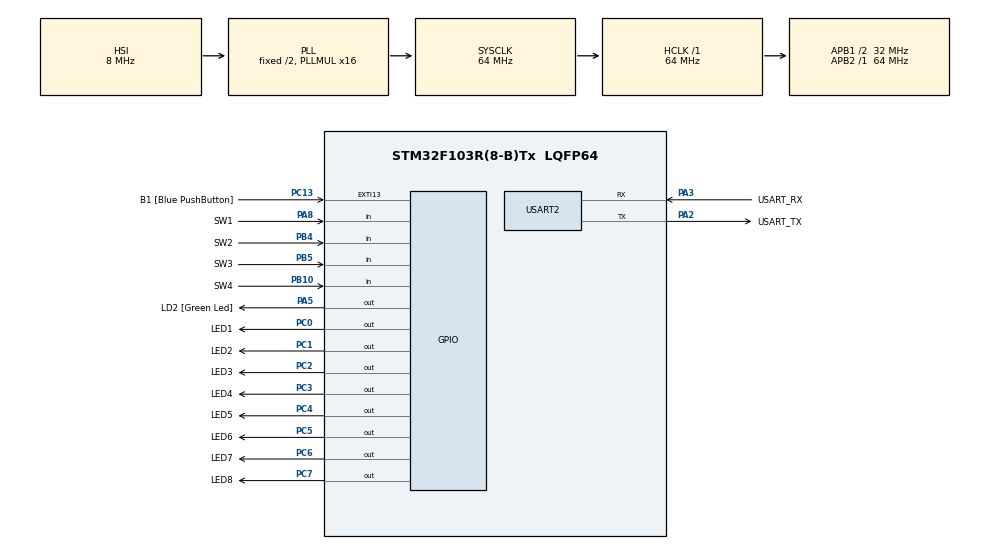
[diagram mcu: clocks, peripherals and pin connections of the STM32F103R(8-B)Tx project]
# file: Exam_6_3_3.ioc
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Mcu.Family=STM32F1
Mcu.Name=STM32F103R(8-B)Tx
Mcu.Package=LQFP64
NVIC.EXTI15_10_IRQn=true\:0\:0\:false\:false\:true\:true\:true\:true
NVIC.PriorityGroup=NVIC_PRIORITYGROUP_4
PA13.GPIO_Label=TMS
PA13.Mode=Serial_Wire
PA13.Signal=SYS_JTMS-SWDIO
PA14.GPIO_Label=TCK
PA14.Mode=Serial_Wire
PA14.Signal=SYS_JTCK-SWCLK
PA2.GPIO_Label=USART_TX
PA2.GPIO_Mode=GPIO_MODE_AF_PP
PA2.GPIO_PuPd=GPIO_NOPULL
PA2.GPIO_Speed=GPIO_SPEED_FREQ_LOW
PA2.Mode=Asynchronous
PA2.Signal=USART2_TX
PA3.GPIO_Label=USART_RX
PA3.GPIO_Mode=GPIO_MODE_AF_PP
PA3.GPIO_PuPd=GPIO_NOPULL
PA3.GPIO_Speed=GPIO_SPEED_FREQ_LOW
PA3.Mode=Asynchronous
PA3.Signal=USART2_RX
PA5.GPIO_Label=LD2 [Green Led]
PA5.GPIO_ModeDefaultOutputPP=GPIO_MODE_OUTPUT_PP
PA5.GPIO_PuPd=GPIO_NOPULL
PA5.GPIO_Speed=GPIO_SPEED_FREQ_LOW
PA5.Signal=GPIO_Output
PA8.GPIO_Label=SW1
PA8.Signal=GPIO_Input
PB10.GPIO_Label=SW4
PB10.Signal=GPIO_Input
PB3.GPIO_Label=SWO
PB3.Signal=SYS_JTDO-TRACESWO
PB4.GPIO_Label=SW2
PB4.Signal=GPIO_Input
PB5.GPIO_Label=SW3
PB5.Signal=GPIO_Input
PC0.GPIO_Label=LED1
PC0.Signal=GPIO_Output
PC1.GPIO_Label=LED2
PC1.Signal=GPIO_Output
PC13-TAMPER-RTC.GPIO_Label=B1 [Blue PushButton]
PC13-TAMPER-RTC.GPIO_PuPd=GPIO_NOPULL
PC13-TAMPER-RTC.Signal=GPXTI13
PC14-OSC32_IN.Mode=LSE-External-Oscillator
PC14-OSC32_IN.Signal=RCC_OSC32_IN
PC15-OSC32_OUT.Mode=LSE-External-Oscillator
PC15-OSC32_OUT.Signal=RCC_OSC32_OUT
PC2.GPIO_Label=LED3
PC2.Signal=GPIO_Output
PC3.GPIO_Label=LED4
PC3.Signal=GPIO_Output
PC4.GPIO_Label=LED5
PC4.Signal=GPIO_Output
PC5.GPIO_Label=LED6
PC5.Signal=GPIO_Output
PC6.GPIO_Label=LED7
PC6.Signal=GPIO_Output
PC7.GPIO_Label=LED8
PC7.Signal=GPIO_Output
PD0-OSC_IN.Mode=HSE-External-Clock-Source
PD0-OSC_IN.Signal=RCC_OSC_IN
PD1-OSC_OUT.Mode=HSE-External-Clock-Source
PD1-OSC_OUT.Signal=RCC_OSC_OUT
ProjectManager.HeapSize=0x200
ProjectManager.StackSize=0x400
ProjectManager.TargetToolchain=STM32CubeIDE
RCC.AHBFreq_Value=64000000
RCC.APB1CLKDivider=RCC_HCLK_DIV2
RCC.APB1Freq_Value=32000000
RCC.APB1TimFreq_Value=64000000
RCC.APB2Freq_Value=64000000
RCC.APB2TimFreq_Value=64000000
RCC.HCLKFreq_Value=64000000
RCC.PLLMUL=RCC_PLL_MUL16
RCC.RTCClockSelection=RCC_RTCCLKSOURCE_LSE
RCC.SYSCLKFreq_VALUE=64000000
RCC.SYSCLKSource=RCC_SYSCLKSOURCE_PLLCLK
RCC.USBFreq_Value=64000000
USART2.VirtualMode=VM_ASYNC
board=NUCLEO-F103RB

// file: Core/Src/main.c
/* USER CODE BEGIN Header */
/**
  ******************************************************************************
  * @file           : main.c
  * @brief          : Main program body
  ******************************************************************************
  * @attention
  *
  * Copyright (c) 2022 STMicroelectronics.
  * All rights reserved.
  *
  * This software is licensed under terms that can be found in the LICENSE file
  * in the root directory of this software component.
  * If no LICENSE file comes with this software, it is provided AS-IS.
  *
  ******************************************************************************
  */
/* USER CODE END Header */
#include "main.h"

 UART_HandleTypeDef huart2;

void SystemClock_Config(void);
static void MX_GPIO_Init(void);
static void MX_USART2_UART_Init(void);

int main(void)
{

  /* MCU Configuration--------------------------------------------------------*/

  /* Reset of all peripherals, Initializes the Flash interface and the Systick. */
  HAL_Init();

  /* Configure the system clock */
  SystemClock_Config();

  /* Initialize all configured peripherals */
  MX_GPIO_Init();
  MX_USART2_UART_Init();

  /* Infinite loop */
  /* USER CODE BEGIN WHILE */
  while (1)
  {
	  /*if(HAL_GPIO_ReadPin(GPIOA, GPIO_PIN_8) == 0) { //???�� ?���?
	  		  HAL_GPIO_WritePin(GPIOC, GPIO_PIN_0 | GPIO_PIN_1 | GPIO_PIN_2 | GPIO_PIN_3 | GPIO_PIN_4 | GPIO_PIN_5 | GPIO_PIN_6 | GPIO_PIN_7, GPIO_PIN_SET);
	  	  }
	  	  else if(HAL_GPIO_ReadPin(GPIOA, GPIO_PIN_8) == 1)
	  		  HAL_GPIO_WritePin(GPIOC, GPIO_PIN_0 | GPIO_PIN_1 | GPIO_PIN_2 | GPIO_PIN_3 | GPIO_PIN_4 | GPIO_PIN_5 | GPIO_PIN_6 | GPIO_PIN_7, GPIO_PIN_RESET);*/

	  	  if(HAL_GPIO_ReadPin(GPIOA, GPIO_PIN_8) == GPIO_PIN_RESET) {
	  		  HAL_GPIO_WritePin(GPIOC, 0x03, GPIO_PIN_SET);
	  		  HAL_Delay(500);
	  		  HAL_GPIO_WritePin(GPIOC, 0x03, GPIO_PIN_RESET);
	  	  }
	  	  else if(HAL_GPIO_ReadPin(GPIOB, GPIO_PIN_4) == GPIO_PIN_RESET) {
	  	  		  HAL_GPIO_WritePin(GPIOC, 0x0c, GPIO_PIN_SET);
	  	  		  HAL_Delay(500);
	  	  		  HAL_GPIO_WritePin(GPIOC, 0x0c, GPIO_PIN_RESET);
	  	  }
	  	  else if(HAL_GPIO_ReadPin(GPIOB, GPIO_PIN_5) == GPIO_PIN_RESET) {
	  	  		  HAL_GPIO_WritePin(GPIOC, 0x30, GPIO_PIN_SET);
	  	  		  HAL_Delay(500);
	  	  		  HAL_GPIO_WritePin(GPIOC, 0x30, GPIO_PIN_RESET);
	  	  }
	  	  else if(HAL_GPIO_ReadPin(GPIOB, GPIO_PIN_10) == GPIO_PIN_RESET) {
	  	  		  HAL_GPIO_WritePin(GPIOC, 0xc0, GPIO_PIN_SET);
	  	  		  HAL_Delay(500);
	  	  		  HAL_GPIO_WritePin(GPIOC, 0xc0, GPIO_PIN_RESET);
	  	  }
    /* USER CODE END WHILE */

  }
}

void SystemClock_Config(void)
{
  RCC_OscInitTypeDef RCC_OscInitStruct = {0};
  RCC_ClkInitTypeDef RCC_ClkInitStruct = {0};

  /** Initializes the RCC Oscillators according to the specified parameters
  * in the RCC_OscInitTypeDef structure.
  */
  RCC_OscInitStruct.OscillatorType = RCC_OSCILLATORTYPE_HSI;
  RCC_OscInitStruct.HSIState = RCC_HSI_ON;
  RCC_OscInitStruct.HSICalibrationValue = RCC_HSICALIBRATION_DEFAULT;
  RCC_OscInitStruct.PLL.PLLState = RCC_PLL_ON;
  RCC_OscInitStruct.PLL.PLLSource = RCC_PLLSOURCE_HSI_DIV2;
  RCC_OscInitStruct.PLL.PLLMUL = RCC_PLL_MUL16;
  if (HAL_RCC_OscConfig(&RCC_OscInitStruct) != HAL_OK)
  {
    Error_Handler();
  }

  /** Initializes the CPU, AHB and APB buses clocks
  */
  RCC_ClkInitStruct.ClockType = RCC_CLOCKTYPE_HCLK|RCC_CLOCKTYPE_SYSCLK
                              |RCC_CLOCKTYPE_PCLK1|RCC_CLOCKTYPE_PCLK2;
  RCC_ClkInitStruct.SYSCLKSource = RCC_SYSCLKSOURCE_PLLCLK;
  RCC_ClkInitStruct.AHBCLKDivider = RCC_SYSCLK_DIV1;
  RCC_ClkInitStruct.APB1CLKDivider = RCC_HCLK_DIV2;
  RCC_ClkInitStruct.APB2CLKDivider = RCC_HCLK_DIV1;

  if (HAL_RCC_ClockConfig(&RCC_ClkInitStruct, FLASH_LATENCY_2) != HAL_OK)
  {
    Error_Handler();
  }
}

static void MX_USART2_UART_Init(void)
{

  huart2.Instance = USART2;
  huart2.Init.BaudRate = 115200;
  huart2.Init.WordLength = UART_WORDLENGTH_8B;
  huart2.Init.StopBits = UART_STOPBITS_1;
  huart2.Init.Parity = UART_PARITY_NONE;
  huart2.Init.Mode = UART_MODE_TX_RX;
  huart2.Init.HwFlowCtl = UART_HWCONTROL_NONE;
  huart2.Init.OverSampling = UART_OVERSAMPLING_16;
  if (HAL_UART_Init(&huart2) != HAL_OK)
  {
    Error_Handler();
  }

}

static void MX_GPIO_Init(void)
{
  GPIO_InitTypeDef GPIO_InitStruct = {0};

  /* GPIO Ports Clock Enable */
  __HAL_RCC_GPIOC_CLK_ENABLE();
  __HAL_RCC_GPIOD_CLK_ENABLE();
  __HAL_RCC_GPIOA_CLK_ENABLE();
  __HAL_RCC_GPIOB_CLK_ENABLE();

  /*Configure GPIO pin Output Level */
  HAL_GPIO_WritePin(GPIOC, LED1_Pin|LED2_Pin|LED3_Pin|LED4_Pin
                          |LED5_Pin|LED6_Pin|LED7_Pin|LED8_Pin, GPIO_PIN_RESET);

  /*Configure GPIO pin Output Level */
  HAL_GPIO_WritePin(LD2_GPIO_Port, LD2_Pin, GPIO_PIN_RESET);

  /*Configure GPIO pin : B1_Pin */
  GPIO_InitStruct.Pin = B1_Pin;
  GPIO_InitStruct.Mode = GPIO_MODE_IT_RISING;
  GPIO_InitStruct.Pull = GPIO_NOPULL;
  HAL_GPIO_Init(B1_GPIO_Port, &GPIO_InitStruct);

  /*Configure GPIO pins : LED1_Pin LED2_Pin LED3_Pin LED4_Pin
                           LED5_Pin LED6_Pin LED7_Pin LED8_Pin */
  GPIO_InitStruct.Pin = LED1_Pin|LED2_Pin|LED3_Pin|LED4_Pin
                          |LED5_Pin|LED6_Pin|LED7_Pin|LED8_Pin;
  GPIO_InitStruct.Mode = GPIO_MODE_OUTPUT_PP;
  GPIO_InitStruct.Pull = GPIO_NOPULL;
  GPIO_InitStruct.Speed = GPIO_SPEED_FREQ_LOW;
  HAL_GPIO_Init(GPIOC, &GPIO_InitStruct);

  /*Configure GPIO pin : LD2_Pin */
  GPIO_InitStruct.Pin = LD2_Pin;
  GPIO_InitStruct.Mode = GPIO_MODE_OUTPUT_PP;
  GPIO_InitStruct.Pull = GPIO_NOPULL;
  GPIO_InitStruct.Speed = GPIO_SPEED_FREQ_LOW;
  HAL_GPIO_Init(LD2_GPIO_Port, &GPIO_InitStruct);

  /*Configure GPIO pins : SW4_Pin SW2_Pin SW3_Pin */
  GPIO_InitStruct.Pin = SW4_Pin|SW2_Pin|SW3_Pin;
  GPIO_InitStruct.Mode = GPIO_MODE_INPUT;
  GPIO_InitStruct.Pull = GPIO_NOPULL;
  HAL_GPIO_Init(GPIOB, &GPIO_InitStruct);

  /*Configure GPIO pin : SW1_Pin */
  GPIO_InitStruct.Pin = SW1_Pin;
  GPIO_InitStruct.Mode = GPIO_MODE_INPUT;
  GPIO_InitStruct.Pull = GPIO_NOPULL;
  HAL_GPIO_Init(SW1_GPIO_Port, &GPIO_InitStruct);

  /* EXTI interrupt init*/
  HAL_NVIC_SetPriority(EXTI15_10_IRQn, 0, 0);
  HAL_NVIC_EnableIRQ(EXTI15_10_IRQn);

}

void Error_Handler(void)
{
  __disable_irq();
  while (1)
  {
  }
}
